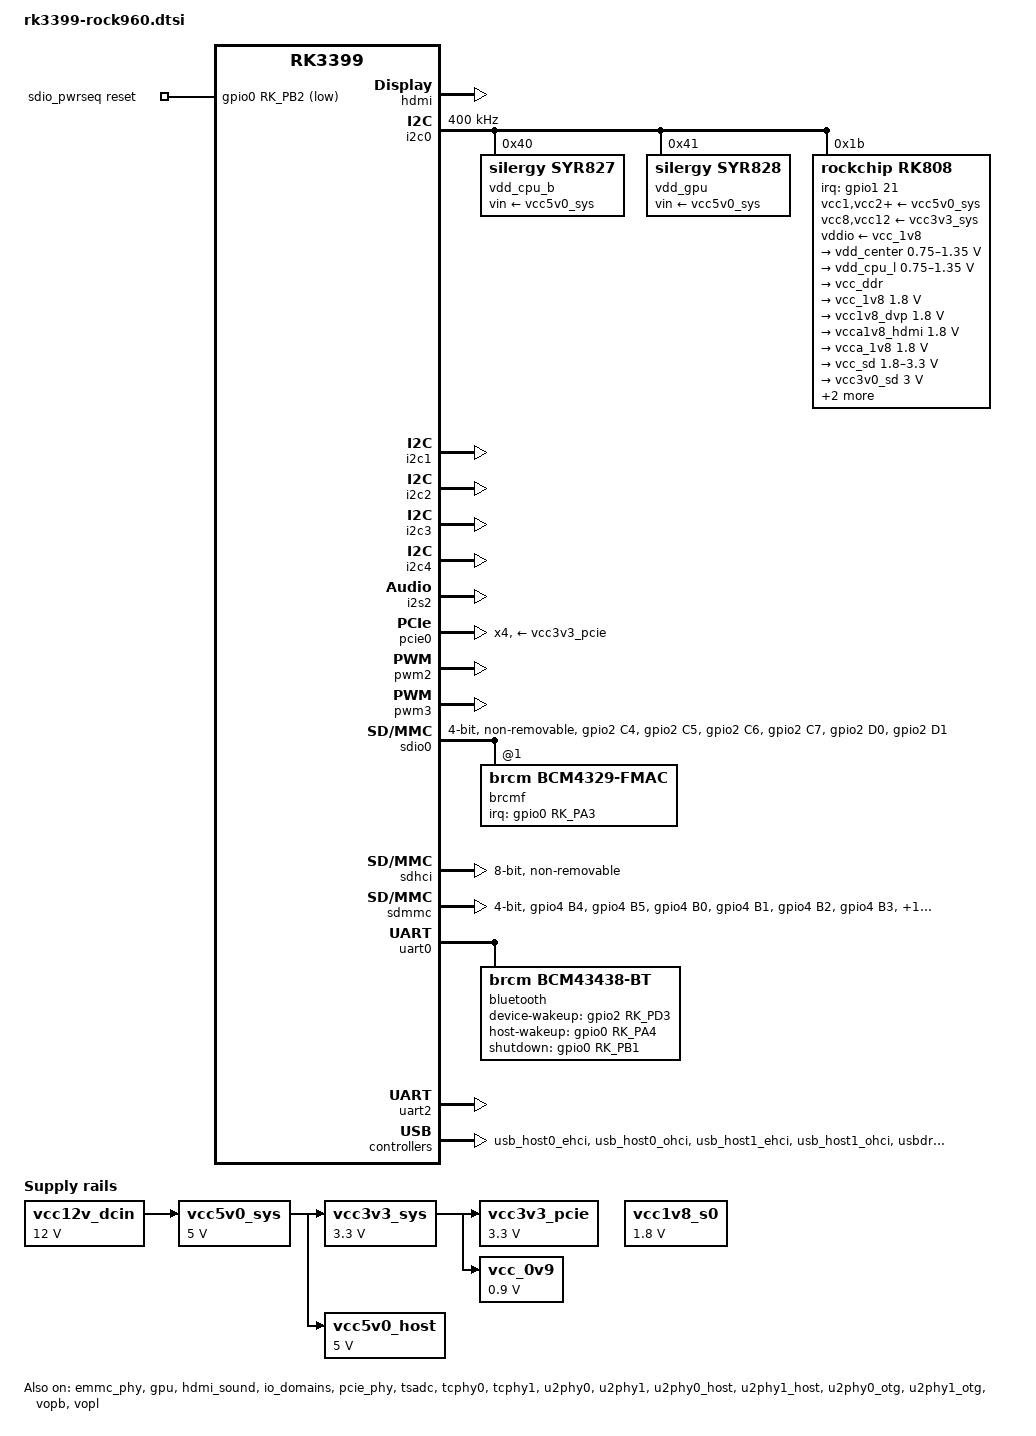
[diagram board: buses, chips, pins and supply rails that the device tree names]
// SPDX-License-Identifier: (GPL-2.0+ OR MIT)
/*
 * Copyright (c) 2018 Collabora Ltd.
 * Copyright (c) 2018 Fuzhou Rockchip Electronics Co., Ltd.
 * Copyright (c) 2018 Linaro Ltd.
 */

#include "rk3399.dtsi"
#include "rk3399-opp.dtsi"
#include <dt-bindings/interrupt-controller/irq.h>

/ {
	aliases {
		mmc0 = &sdio0;
		mmc1 = &sdmmc;
		mmc2 = &sdhci;
	};

	sdio_pwrseq: sdio-pwrseq {
		compatible = "mmc-pwrseq-simple";
		clocks = <&rk808 1>;
		clock-names = "ext_clock";
		pinctrl-names = "default";
		pinctrl-0 = <&wifi_enable_h>;
		reset-gpios = <&gpio0 RK_PB2 GPIO_ACTIVE_LOW>;
	};

	vcc12v_dcin: vcc12v-dcin {
		compatible = "regulator-fixed";
		regulator-name = "vcc12v_dcin";
		regulator-min-microvolt = <12000000>;
		regulator-max-microvolt = <12000000>;
		regulator-always-on;
		regulator-boot-on;
	};

	vcc1v8_s0: vcc1v8-s0 {
		compatible = "regulator-fixed";
		regulator-name = "vcc1v8_s0";
		regulator-min-microvolt = <1800000>;
		regulator-max-microvolt = <1800000>;
		regulator-always-on;
	};

	vcc5v0_sys: vcc5v0-sys {
		compatible = "regulator-fixed";
		regulator-name = "vcc5v0_sys";
		regulator-min-microvolt = <5000000>;
		regulator-max-microvolt = <5000000>;
		regulator-always-on;
		vin-supply = <&vcc12v_dcin>;
	};

	vcc3v3_sys: vcc3v3-sys {
		compatible = "regulator-fixed";
		regulator-name = "vcc3v3_sys";
		regulator-min-microvolt = <3300000>;
		regulator-max-microvolt = <3300000>;
		regulator-always-on;
		vin-supply = <&vcc5v0_sys>;
	};

	vcc3v3_pcie: vcc3v3-pcie-regulator {
		compatible = "regulator-fixed";
		enable-active-high;
		pinctrl-names = "default";
		pinctrl-0 = <&pcie_drv>;
		regulator-boot-on;
		regulator-name = "vcc3v3_pcie";
		regulator-min-microvolt = <3300000>;
		regulator-max-microvolt = <3300000>;
		vin-supply = <&vcc3v3_sys>;
	};

	vcc5v0_host: vcc5v0-host-regulator {
		compatible = "regulator-fixed";
		enable-active-high;
		pinctrl-names = "default";
		pinctrl-0 = <&host_vbus_drv>;
		regulator-name = "vcc5v0_host";
		regulator-min-microvolt = <5000000>;
		regulator-max-microvolt = <5000000>;
		regulator-always-on;
		vin-supply = <&vcc5v0_sys>;
	};

	vcc_0v9: vcc-0v9 {
		compatible = "regulator-fixed";
		regulator-name = "vcc_0v9";
		regulator-always-on;
		regulator-min-microvolt = <900000>;
		regulator-max-microvolt = <900000>;
		vin-supply = <&vcc3v3_sys>;
	};
};

&cpu_l0 {
	cpu-supply = <&vdd_cpu_l>;
};

&cpu_l1 {
	cpu-supply = <&vdd_cpu_l>;
};

&cpu_l2 {
	cpu-supply = <&vdd_cpu_l>;
};

&cpu_l3 {
	cpu-supply = <&vdd_cpu_l>;
};

&cpu_b0 {
	cpu-supply = <&vdd_cpu_b>;
};

&cpu_b1 {
	cpu-supply = <&vdd_cpu_b>;
};

&emmc_phy {
	status = "okay";
};

&gpu {
	mali-supply = <&vdd_gpu>;
	status = "okay";
};

&hdmi {
	avdd-0v9-supply = <&vcca0v9_hdmi>;
	avdd-1v8-supply = <&vcca1v8_hdmi>;
	ddc-i2c-bus = <&i2c3>;
	pinctrl-names = "default";
	pinctrl-0 = <&hdmi_cec>;
	status = "okay";
};

&hdmi_sound {
	status = "okay";
};

&i2c0 {
	clock-frequency = <400000>;
	i2c-scl-rising-time-ns = <168>;
	i2c-scl-falling-time-ns = <4>;
	status = "okay";

	vdd_cpu_b: regulator@40 {
		compatible = "silergy,syr827";
		reg = <0x40>;
		fcs,suspend-voltage-selector = <1>;
		regulator-name = "vdd_cpu_b";
		regulator-min-microvolt = <712500>;
		regulator-max-microvolt = <1500000>;
		regulator-ramp-delay = <1000>;
		regulator-always-on;
		regulator-boot-on;
		vin-supply = <&vcc5v0_sys>;
		status = "okay";

		regulator-state-mem {
			regulator-off-in-suspend;
		};
	};

	vdd_gpu: regulator@41 {
		compatible = "silergy,syr828";
		reg = <0x41>;
		fcs,suspend-voltage-selector = <1>;
		regulator-name = "vdd_gpu";
		regulator-min-microvolt = <712500>;
		regulator-max-microvolt = <1500000>;
		regulator-ramp-delay = <1000>;
		regulator-always-on;
		regulator-boot-on;
		vin-supply = <&vcc5v0_sys>;
		regulator-state-mem {
			regulator-off-in-suspend;
		};
	};

	rk808: pmic@1b {
		compatible = "rockchip,rk808";
		reg = <0x1b>;
		interrupt-parent = <&gpio1>;
		interrupts = <21 IRQ_TYPE_LEVEL_LOW>;
		pinctrl-names = "default";
		pinctrl-0 = <&pmic_int_l>;
		rockchip,system-power-controller;
		wakeup-source;
		#clock-cells = <1>;
		clock-output-names = "xin32k", "rk808-clkout2";

		vcc1-supply = <&vcc5v0_sys>;
		vcc2-supply = <&vcc5v0_sys>;
		vcc3-supply = <&vcc5v0_sys>;
		vcc4-supply = <&vcc5v0_sys>;
		vcc6-supply = <&vcc5v0_sys>;
		vcc7-supply = <&vcc5v0_sys>;
		vcc8-supply = <&vcc3v3_sys>;
		vcc9-supply = <&vcc5v0_sys>;
		vcc10-supply = <&vcc5v0_sys>;
		vcc11-supply = <&vcc5v0_sys>;
		vcc12-supply = <&vcc3v3_sys>;
		vddio-supply = <&vcc_1v8>;

		regulators {
			vdd_center: DCDC_REG1 {
				regulator-name = "vdd_center";
				regulator-min-microvolt = <750000>;
				regulator-max-microvolt = <1350000>;
				regulator-always-on;
				regulator-boot-on;
				regulator-state-mem {
					regulator-off-in-suspend;
				};
			};

			vdd_cpu_l: DCDC_REG2 {
				regulator-name = "vdd_cpu_l";
				regulator-min-microvolt = <750000>;
				regulator-max-microvolt = <1350000>;
				regulator-always-on;
				regulator-boot-on;
				regulator-state-mem {
					regulator-off-in-suspend;
				};
			};

			vcc_ddr: DCDC_REG3 {
				regulator-name = "vcc_ddr";
				regulator-always-on;
				regulator-boot-on;
				regulator-state-mem {
					regulator-on-in-suspend;
				};
			};

			vcc_1v8: DCDC_REG4 {
				regulator-name = "vcc_1v8";
				regulator-min-microvolt = <1800000>;
				regulator-max-microvolt = <1800000>;
				regulator-always-on;
				regulator-boot-on;
				regulator-state-mem {
					regulator-on-in-suspend;
					regulator-suspend-microvolt = <1800000>;
				};
			};

			vcc1v8_dvp: LDO_REG1 {
				regulator-name = "vcc1v8_dvp";
				regulator-min-microvolt = <1800000>;
				regulator-max-microvolt = <1800000>;
				regulator-always-on;
				regulator-boot-on;
				regulator-state-mem {
					regulator-on-in-suspend;
					regulator-suspend-microvolt = <1800000>;
				};
			};

			vcca1v8_hdmi: LDO_REG2 {
				regulator-name = "vcca1v8_hdmi";
				regulator-min-microvolt = <1800000>;
				regulator-max-microvolt = <1800000>;
				regulator-always-on;
				regulator-boot-on;
				regulator-state-mem {
					regulator-on-in-suspend;
					regulator-suspend-microvolt = <1800000>;
				};
			};

			vcca_1v8: LDO_REG3 {
				regulator-name = "vcca_1v8";
				regulator-min-microvolt = <1800000>;
				regulator-max-microvolt = <1800000>;
				regulator-always-on;
				regulator-boot-on;
				regulator-state-mem {
					regulator-on-in-suspend;
					regulator-suspend-microvolt = <1800000>;
				};
			};

			vcc_sd: LDO_REG4 {
				regulator-name = "vcc_sd";
				regulator-min-microvolt = <1800000>;
				regulator-max-microvolt = <3300000>;
				regulator-always-on;
				regulator-boot-on;
				regulator-state-mem {
					regulator-on-in-suspend;
					regulator-suspend-microvolt = <3300000>;
				};
			};

			vcc3v0_sd: LDO_REG5 {
				regulator-name = "vcc3v0_sd";
				regulator-min-microvolt = <3000000>;
				regulator-max-microvolt = <3000000>;
				regulator-always-on;
				regulator-boot-on;
				regulator-state-mem {
					regulator-on-in-suspend;
					regulator-suspend-microvolt = <3000000>;
				};
			};

			vcc_1v5: LDO_REG6 {
				regulator-name = "vcc_1v5";
				regulator-min-microvolt = <1500000>;
				regulator-max-microvolt = <1500000>;
				regulator-always-on;
				regulator-boot-on;
				regulator-state-mem {
					regulator-on-in-suspend;
					regulator-suspend-microvolt = <1500000>;
				};
			};

			vcca0v9_hdmi: LDO_REG7 {
				regulator-name = "vcca0v9_hdmi";
				regulator-min-microvolt = <900000>;
				regulator-max-microvolt = <900000>;
				regulator-always-on;
				regulator-boot-on;
				regulator-state-mem {
					regulator-on-in-suspend;
					regulator-suspend-microvolt = <900000>;
				};
			};

			vcc_3v0: LDO_REG8 {
				regulator-name = "vcc_3v0";
				regulator-min-microvolt = <3000000>;
				regulator-max-microvolt = <3000000>;
				regulator-always-on;
				regulator-boot-on;
				regulator-state-mem {
					regulator-on-in-suspend;
					regulator-suspend-microvolt = <3000000>;
				};
			};

			vcc3v3_s3: SWITCH_REG1 {
				regulator-name = "vcc3v3_s3";
				regulator-always-on;
				regulator-boot-on;
				regulator-state-mem {
					regulator-on-in-suspend;
				};
			};

			vcc3v3_s0: SWITCH_REG2 {
				regulator-name = "vcc3v3_s0";
				regulator-always-on;
				regulator-boot-on;
				regulator-state-mem {
					regulator-on-in-suspend;
				};
			};
		};
	};
};

&i2c1 {
	status = "okay";
};

&i2c2 {
	status = "okay";
};

&i2c3 {
	status = "okay";
};

&i2c4 {
	status = "okay";
};

&i2s2 {
        status = "okay";
};

&io_domains {
	bt656-supply = <&vcc1v8_s0>; /* bt656_gpio2ab_ms */
	audio-supply = <&vcc1v8_s0>; /* audio_gpio3d4a_ms */
	sdmmc-supply = <&vcc_sd>; /* sdmmc_gpio4b_ms */
	gpio1830-supply = <&vcc_3v0>; /* gpio1833_gpio4cd_ms */
	status = "okay";
};

&pcie_phy {
	status = "okay";
};

&pcie0 {
	num-lanes = <4>;
	pinctrl-names = "default";
	pinctrl-0 = <&pcie_clkreqn_cpm>;
	vpcie0v9-supply = <&vcc_0v9>;
	vpcie1v8-supply = <&vcca_1v8>;
	vpcie3v3-supply = <&vcc3v3_pcie>;
	status = "okay";
};

&pmu_io_domains {
	pmu1830-supply = <&vcc_1v8>;
	status = "okay";
};

&pinctrl {
	bt {
		bt_enable_h: bt-enable-h {
			rockchip,pins = <0 RK_PB1 RK_FUNC_GPIO &pcfg_pull_none>;
		};

		bt_host_wake_l: bt-host-wake-l {
			rockchip,pins = <0 RK_PA4 RK_FUNC_GPIO &pcfg_pull_none>;
		};

		bt_wake_l: bt-wake-l {
			rockchip,pins = <2 RK_PD3 RK_FUNC_GPIO &pcfg_pull_none>;
		};
	};

	sdmmc {
		sdmmc_bus1: sdmmc-bus1 {
			rockchip,pins =
				<4 RK_PB0 1 &pcfg_pull_up_8ma>;
		};

		sdmmc_bus4: sdmmc-bus4 {
			rockchip,pins =
				<4 RK_PB0 1 &pcfg_pull_up_8ma>,
				<4 RK_PB1 1 &pcfg_pull_up_8ma>,
				<4 RK_PB2 1 &pcfg_pull_up_8ma>,
				<4 RK_PB3 1 &pcfg_pull_up_8ma>;
		};

		sdmmc_clk: sdmmc-clk {
			rockchip,pins =
				<4 RK_PB4 1 &pcfg_pull_none_18ma>;
		};

		sdmmc_cmd: sdmmc-cmd {
			rockchip,pins =
				<4 RK_PB5 1 &pcfg_pull_up_8ma>;
		};
	};

	sdio0 {
		sdio0_bus4: sdio0-bus4 {
			rockchip,pins =
				<2 RK_PC4 1 &pcfg_pull_up_20ma>,
				<2 RK_PC5 1 &pcfg_pull_up_20ma>,
				<2 RK_PC6 1 &pcfg_pull_up_20ma>,
				<2 RK_PC7 1 &pcfg_pull_up_20ma>;
		};

		sdio0_cmd: sdio0-cmd {
			rockchip,pins =
				<2 RK_PD0 1 &pcfg_pull_up_20ma>;
		};

		sdio0_clk: sdio0-clk {
			rockchip,pins =
				<2 RK_PD1 1 &pcfg_pull_none_20ma>;
		};
	};

	pmic {
		pmic_int_l: pmic-int-l {
			rockchip,pins =
				<1 RK_PC5 RK_FUNC_GPIO &pcfg_pull_up>;
		};

		vsel1_pin: vsel1-pin {
			rockchip,pins =
				<1 RK_PC1 RK_FUNC_GPIO &pcfg_pull_down>;
		};

		vsel2_pin: vsel2-pin {
			rockchip,pins =
				<1 RK_PB6 RK_FUNC_GPIO &pcfg_pull_down>;
		};
	};

	sdio-pwrseq {
		wifi_enable_h: wifi-enable-h {
			rockchip,pins =
				<0 RK_PB2 RK_FUNC_GPIO &pcfg_pull_none>;
		};
	};

	wifi {
		wifi_host_wake_l: wifi-host-wake-l {
			rockchip,pins = <0 RK_PA3 RK_FUNC_GPIO &pcfg_pull_none>;
		};
	};
};

&pwm2 {
	status = "okay";
};

&pwm3 {
	status = "okay";
};

&sdio0 {
	bus-width = <4>;
	clock-frequency = <50000000>;
	cap-sdio-irq;
	cap-sd-highspeed;
	keep-power-in-suspend;
	mmc-pwrseq = <&sdio_pwrseq>;
	non-removable;
	pinctrl-names = "default";
	pinctrl-0 = <&sdio0_bus4 &sdio0_cmd &sdio0_clk>;
	sd-uhs-sdr104;
	#address-cells = <1>;
	#size-cells = <0>;
	status = "okay";

	brcmf: wifi@1 {
		compatible = "brcm,bcm4329-fmac";
		reg = <1>;
		interrupt-parent = <&gpio0>;
		interrupts = <RK_PA3 IRQ_TYPE_LEVEL_HIGH>;
		interrupt-names = "host-wake";
		pinctrl-names = "default";
		pinctrl-0 = <&wifi_host_wake_l>;
	};
};

&sdhci {
	bus-width = <8>;
	mmc-hs400-1_8v;
	mmc-hs400-enhanced-strobe;
	non-removable;
	status = "okay";
};

&sdmmc {
	bus-width = <4>;
	cap-mmc-highspeed;
	cap-sd-highspeed;
	clock-frequency = <100000000>;
	max-frequency = <100000000>;
	cd-gpios = <&gpio0 7 GPIO_ACTIVE_LOW>;
	disable-wp;
	sd-uhs-sdr104;
	vqmmc-supply = <&vcc_sd>;
	card-detect-delay = <800>;
	pinctrl-names = "default";
	pinctrl-0 = <&sdmmc_clk &sdmmc_cmd &sdmmc_cd &sdmmc_bus4>;
	status = "okay";
};

&tsadc {
	rockchip,hw-tshut-mode = <1>;
	rockchip,hw-tshut-polarity = <1>;
	rockchip,hw-tshut-temp = <110000>;
	status = "okay";
};

&uart0 {
	pinctrl-names = "default";
	pinctrl-0 = <&uart0_xfer &uart0_cts &uart0_rts>;
	status = "okay";

	bluetooth {
		compatible = "brcm,bcm43438-bt";
		clocks = <&rk808 1>;
		clock-names = "ext_clock";
		device-wakeup-gpios = <&gpio2 RK_PD3 GPIO_ACTIVE_HIGH>;
		host-wakeup-gpios = <&gpio0 RK_PA4 GPIO_ACTIVE_HIGH>;
		shutdown-gpios = <&gpio0 RK_PB1 GPIO_ACTIVE_HIGH>;
		pinctrl-names = "default";
		pinctrl-0 = <&bt_host_wake_l &bt_wake_l &bt_enable_h>;
	};
};

&uart2 {
	status = "okay";
};

&tcphy0 {
	status = "okay";
};

&tcphy1 {
	status = "okay";
};

&u2phy0 {
	status = "okay";
};

&u2phy1 {
	status = "okay";
};

&u2phy0_host {
	phy-supply = <&vcc5v0_host>;
	status = "okay";
};

&u2phy1_host {
	phy-supply = <&vcc5v0_host>;
	status = "okay";
};

&u2phy0_otg {
	status = "okay";
};

&u2phy1_otg {
	status = "okay";
};

&usb_host0_ehci {
	status = "okay";
};

&usb_host0_ohci {
	status = "okay";
};

&usb_host1_ehci {
	status = "okay";
};

&usb_host1_ohci {
	status = "okay";
};

&usbdrd3_0 {
	status = "okay";
};

&usbdrd_dwc3_0 {
	status = "okay";
};

&usbdrd3_1 {
	status = "okay";
};

&usbdrd_dwc3_1 {
	status = "okay";
};

&vopb {
	status = "okay";
};

&vopb_mmu {
	status = "okay";
};

&vopl {
	status = "okay";
};

&vopl_mmu {
	status = "okay";
};
